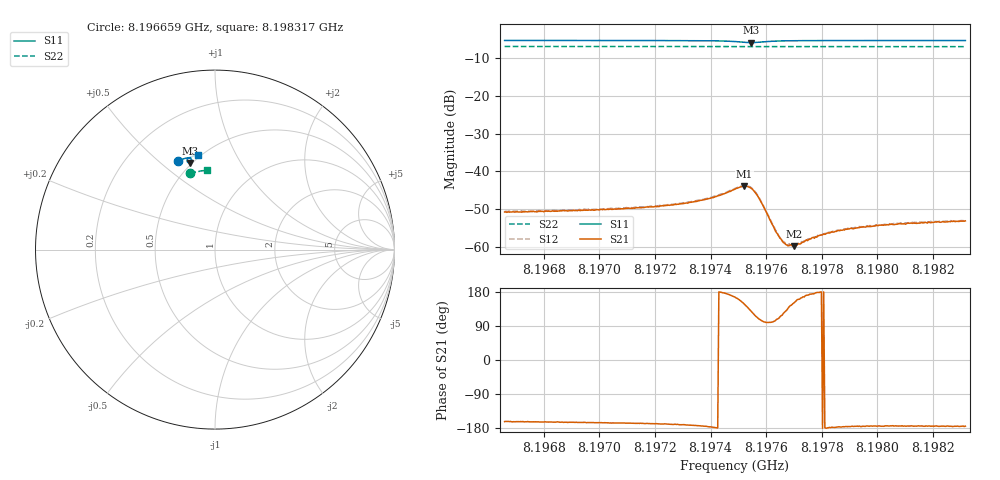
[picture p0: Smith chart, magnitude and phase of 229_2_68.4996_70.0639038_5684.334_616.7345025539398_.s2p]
#  HZ  S  RI  R  50.00
! Rohde & Schwarz Vector Network Analyzer
! Rohde-Schwarz,ZNB20-2Port,1311601062101988,3.16
! Created: UTC 3/20/2024, 5:13:58 PM
! freq[Hz]  re:S11  im:S11  re:S21  im:S21  re:S12  im:S12  re:S22  im:S22
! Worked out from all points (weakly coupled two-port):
!   401 points, 8.196659 GHz to 8.198317 GHz, reference 50 ohm
!   highest |S21| = -43.92 dB at 8.197521 GHz (marker M1); lowest = -59.8 dB at 8.1977 GHz (marker M2)
!   lowest |S11| = -6.0 dB at 8.197546 GHz (marker M3), VSWR 3.02, Z = 24.4 + j31.6 ohm
!   |S11| at or under -10 dB: nowhere
!   |S22| runs from -7.1 to -7.0 dB; largest |S21 - S12| = 0.00031
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8.1966585e9  -0.2046 0.4958  -0.00277 -0.00087  -0.00283 -0.000783  -0.1368 0.4255
8.1969364e9  -0.1852 0.5029  -0.00296 -0.000803  -0.00303 -0.00069  -0.1218 0.4295
8.1972143e9  -0.1641 0.509  -0.00334 -0.000682  -0.00347 -0.000572  -0.1065 0.433
8.1973097e9  -0.1553 0.5107  -0.00376 -0.000575  -0.00384 -0.000432  -0.1011 0.4341
8.1973677e9  -0.1491 0.5111  -0.00412 -0.000436  -0.00422 -0.000238  -0.0979 0.4346
8.1974382e9  -0.1393 0.5093  -0.00489 0.00011  -0.00501 0.000338  -0.0939 0.4353
8.197488e9  -0.1311 0.5023  -0.00564 0.00142  -0.00571 0.00169  -0.0911 0.4356
8.1975212e9  -0.1303 0.4908  -0.00539 0.00339  -0.00536 0.00366  -0.0892 0.4357
8.1975461e9  -0.1385 0.4829  -0.00373 0.00467  -0.0036 0.00494  -0.0882 0.4356
8.1975585e9  -0.1447 0.4825  -0.00258 0.00471  -0.00247 0.00494  -0.0875 0.4358
8.1975751e9  -0.1516 0.486  -0.00133 0.00416  -0.0012 0.00432  -0.087 0.436
8.197629e9  -0.1545 0.502  -0.000377 0.00174  -0.000345 0.00182  -0.0841 0.4371
8.1976539e9  -0.1518 0.5066  -0.000572 0.00113  -0.000488 0.00116  -0.0827 0.4373
8.1976746e9  -0.1495 0.5092  -0.000709 0.000788  -0.000714 0.000854  -0.0814 0.4374
8.1976871e9  -0.1482 0.5102  -0.000861 0.000637  -0.000813 0.000686  -0.0807 0.4377
8.1976995e9  -0.1468 0.5114  -0.000891 0.000509  -0.000902 0.000569  -0.0801 0.4378
8.1977659e9  -0.1399 0.5151  -0.00133 0.000129  -0.00132 0.000178  -0.0762 0.4385
8.1978157e9  -0.1352 0.5169  -0.0015 -3.85e-06  -0.00153 2.81e-05  -0.0734 0.4389
8.1978779e9  -0.13 0.5186  -0.00168 -0.000119  -0.00172 -8.05e-05  -0.0698 0.4393
8.1979359e9  -0.1252 0.52  -0.0018 -0.000184  -0.00186 -0.000102  -0.0667 0.4397
8.1980438e9  -0.1169 0.5221  -0.00197 -0.000199  -0.00203 -0.000139  -0.0606 0.4405
8.1983175e9  -0.0967 0.5261  -0.00221 -0.000205  -0.00222 -0.000116  -0.0449 0.4417
